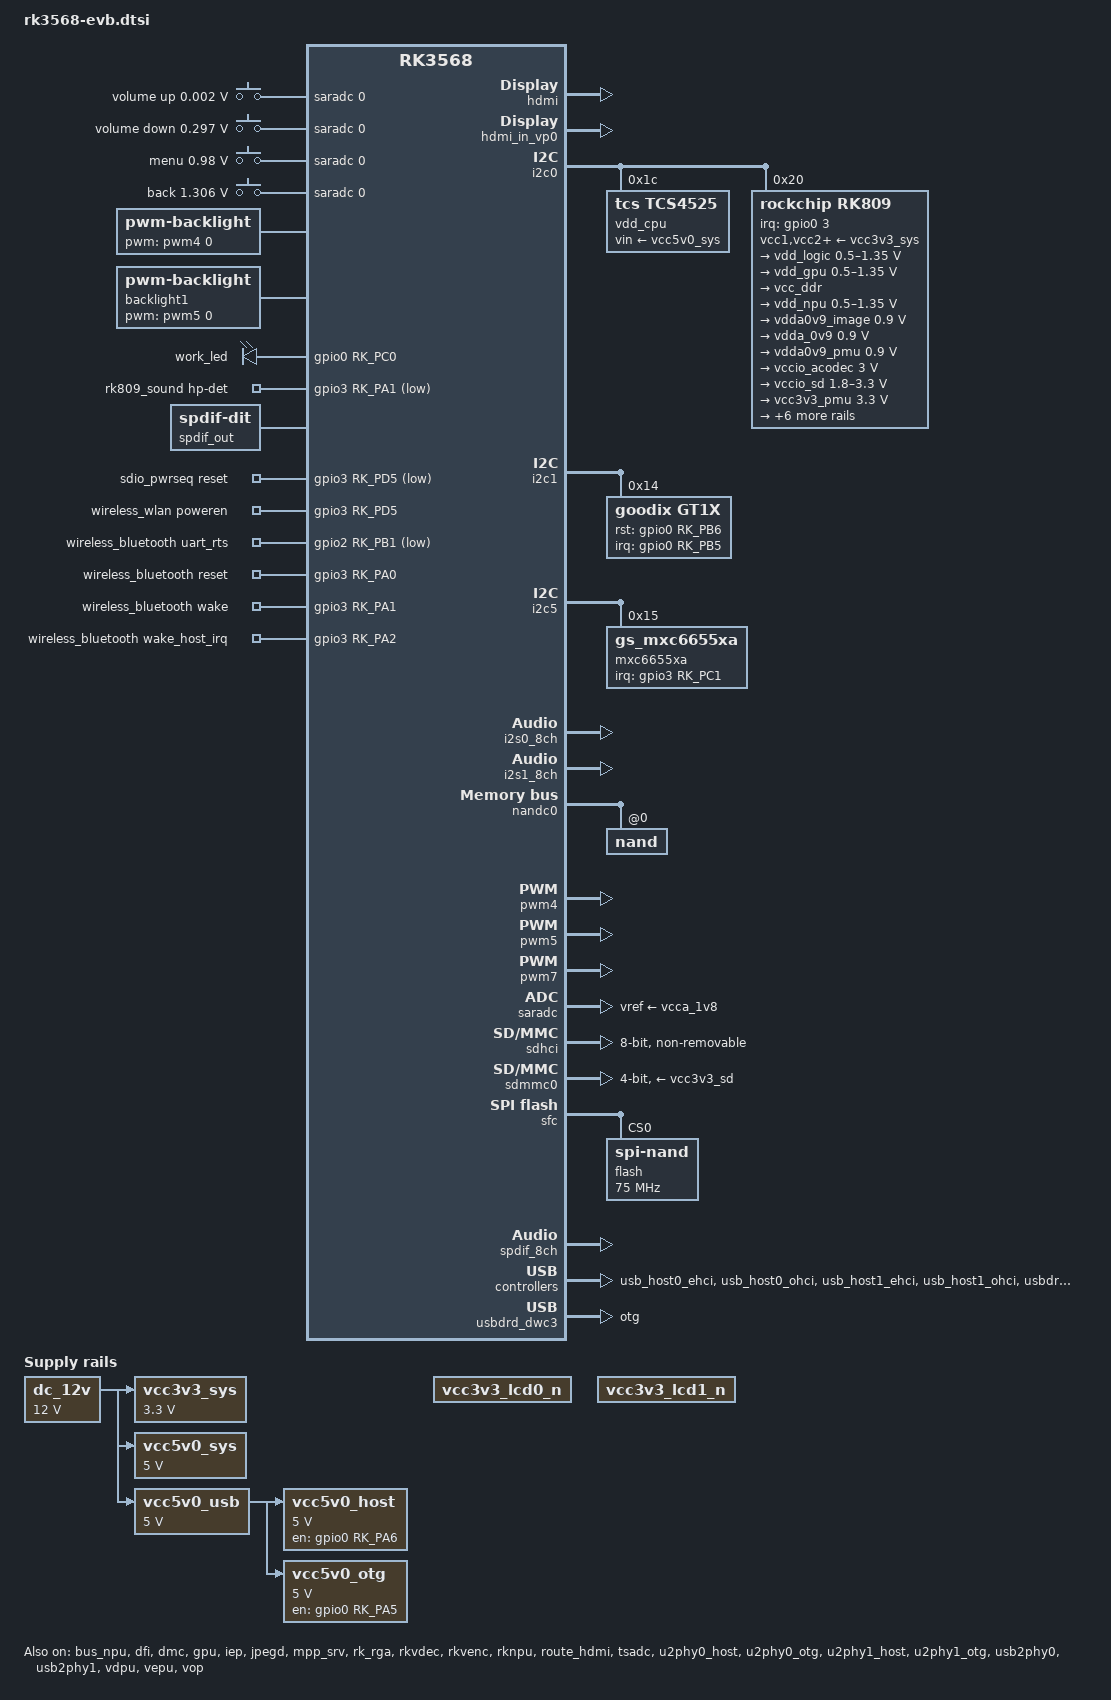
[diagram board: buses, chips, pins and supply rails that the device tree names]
// SPDX-License-Identifier: (GPL-2.0+ OR MIT)
/*
 * Copyright (c) 2020 Rockchip Electronics Co., Ltd.
 *
 */

#include <dt-bindings/gpio/gpio.h>
#include <dt-bindings/pwm/pwm.h>
#include <dt-bindings/pinctrl/rockchip.h>
#include <dt-bindings/input/rk-input.h>
#include <dt-bindings/display/drm_mipi_dsi.h>
#include <dt-bindings/sensor-dev.h>

/ {

	adc_keys: adc-keys {
		compatible = "adc-keys";
		io-channels = <&saradc 0>;
		io-channel-names = "buttons";
		keyup-threshold-microvolt = <1800000>;
		poll-interval = <100>;

		vol-up-key {
			label = "volume up";
			linux,code = <KEY_VOLUMEUP>;
			press-threshold-microvolt = <1750>;
		};

		vol-down-key {
			label = "volume down";
			linux,code = <KEY_VOLUMEDOWN>;
			press-threshold-microvolt = <297500>;
		};

		menu-key {
			label = "menu";
			linux,code = <KEY_MENU>;
			press-threshold-microvolt = <980000>;
		};

		back-key {
			label = "back";
			linux,code = <KEY_BACK>;
			press-threshold-microvolt = <1305500>;
		};
	};

	audiopwmout_diff: audiopwmout-diff {
		status = "disabled";
		compatible = "simple-audio-card";
		simple-audio-card,format = "i2s";
		simple-audio-card,name = "rockchip,audiopwmout-diff";
		simple-audio-card,mclk-fs = <256>;
		simple-audio-card,bitclock-master = <&master>;
		simple-audio-card,frame-master = <&master>;
		simple-audio-card,cpu {
			sound-dai = <&i2s3_2ch>;
		};
		master: simple-audio-card,codec {
			sound-dai = <&dig_acodec>;
		};
	};

	backlight: backlight {
		compatible = "pwm-backlight";
		pwms = <&pwm4 0 25000 0>;
		brightness-levels = <
			  0  20  20  21  21  22  22  23
			 23  24  24  25  25  26  26  27
			 27  28  28  29  29  30  30  31
			 31  32  32  33  33  34  34  35
			 35  36  36  37  37  38  38  39
			 40  41  42  43  44  45  46  47
			 48  49  50  51  52  53  54  55
			 56  57  58  59  60  61  62  63
			 64  65  66  67  68  69  70  71
			 72  73  74  75  76  77  78  79
			 80  81  82  83  84  85  86  87
			 88  89  90  91  92  93  94  95
			 96  97  98  99 100 101 102 103
			104 105 106 107 108 109 110 111
			112 113 114 115 116 117 118 119
			120 121 122 123 124 125 126 127
			128 129 130 131 132 133 134 135
			136 137 138 139 140 141 142 143
			144 145 146 147 148 149 150 151
			152 153 154 155 156 157 158 159
			160 161 162 163 164 165 166 167
			168 169 170 171 172 173 174 175
			176 177 178 179 180 181 182 183
			184 185 186 187 188 189 190 191
			192 193 194 195 196 197 198 199
			200 201 202 203 204 205 206 207
			208 209 210 211 212 213 214 215
			216 217 218 219 220 221 222 223
			224 225 226 227 228 229 230 231
			232 233 234 235 236 237 238 239
			240 241 242 243 244 245 246 247
			248 249 250 251 252 253 254 255
		>;
		default-brightness-level = <200>;
	};

	backlight1: backlight1 {
		compatible = "pwm-backlight";
		pwms = <&pwm5 0 25000 0>;
		brightness-levels = <
			  0  20  20  21  21  22  22  23
			 23  24  24  25  25  26  26  27
			 27  28  28  29  29  30  30  31
			 31  32  32  33  33  34  34  35
			 35  36  36  37  37  38  38  39
			 40  41  42  43  44  45  46  47
			 48  49  50  51  52  53  54  55
			 56  57  58  59  60  61  62  63
			 64  65  66  67  68  69  70  71
			 72  73  74  75  76  77  78  79
			 80  81  82  83  84  85  86  87
			 88  89  90  91  92  93  94  95
			 96  97  98  99 100 101 102 103
			104 105 106 107 108 109 110 111
			112 113 114 115 116 117 118 119
			120 121 122 123 124 125 126 127
			128 129 130 131 132 133 134 135
			136 137 138 139 140 141 142 143
			144 145 146 147 148 149 150 151
			152 153 154 155 156 157 158 159
			160 161 162 163 164 165 166 167
			168 169 170 171 172 173 174 175
			176 177 178 179 180 181 182 183
			184 185 186 187 188 189 190 191
			192 193 194 195 196 197 198 199
			200 201 202 203 204 205 206 207
			208 209 210 211 212 213 214 215
			216 217 218 219 220 221 222 223
			224 225 226 227 228 229 230 231
			232 233 234 235 236 237 238 239
			240 241 242 243 244 245 246 247
			248 249 250 251 252 253 254 255
		>;
		default-brightness-level = <200>;
	};

	bt_sco: bt-sco {
		status = "disabled";
		compatible = "delta,dfbmcs320";
		#sound-dai-cells = <1>;
	};

	bt_sound: bt-sound {
		status = "disabled";
		compatible = "simple-audio-card";
		simple-audio-card,format = "dsp_a";
		simple-audio-card,bitclock-inversion = <0>;
		simple-audio-card,mclk-fs = <256>;
		simple-audio-card,name = "rockchip,bt";
		simple-audio-card,cpu {
			sound-dai = <&i2s3_2ch>;
		};
		simple-audio-card,codec {
			sound-dai = <&bt_sco 1>;
		};
	};

	dc_12v: dc-12v {
		compatible = "regulator-fixed";
		regulator-name = "dc_12v";
		regulator-always-on;
		regulator-boot-on;
		regulator-min-microvolt = <12000000>;
		regulator-max-microvolt = <12000000>;
	};

	hdmi_sound: hdmi-sound {
		compatible = "simple-audio-card";
		simple-audio-card,format = "i2s";
		simple-audio-card,mclk-fs = <128>;
		simple-audio-card,name = "rockchip,hdmi";
		status = "disabled";

		simple-audio-card,cpu {
				sound-dai = <&i2s0_8ch>;
		};
		simple-audio-card,codec {
				sound-dai = <&hdmi>;
		};
	};

	leds: leds {
		compatible = "gpio-leds";
		work_led: work {
			gpios = <&gpio0 RK_PC0 GPIO_ACTIVE_HIGH>;
			linux,default-trigger = "heartbeat";
		};
	};

	pdmics: dummy-codec {
		status = "disabled";
		compatible = "rockchip,dummy-codec";
		#sound-dai-cells = <0>;
	};

	pdm_mic_array: pdm-mic-array {
		status = "disabled";
		compatible = "simple-audio-card";
		simple-audio-card,name = "rockchip,pdm-mic-array";
		simple-audio-card,cpu {
			sound-dai = <&pdm>;
		};
		simple-audio-card,codec {
			sound-dai = <&pdmics>;
		};
	};

	rk809_sound: rk809-sound {
		status = "okay";
		compatible = "rockchip,multicodecs-card";
		rockchip,card-name = "rockchip-rk809";
		hp-det-gpio = <&gpio3 RK_PA1 GPIO_ACTIVE_LOW>;
		rockchip,format = "i2s";
		rockchip,mclk-fs = <256>;
		rockchip,cpu = <&i2s1_8ch>;
		rockchip,codec = <&rk809_codec>;
		pinctrl-names = "default";
		pinctrl-0 = <&hp_det>;
	};

	spdif-sound {
		status = "okay";
		compatible = "simple-audio-card";
		simple-audio-card,name = "ROCKCHIP,SPDIF";
		simple-audio-card,mclk-fs = <128>;
		simple-audio-card,cpu {
				sound-dai = <&spdif_8ch>;
		};
		simple-audio-card,codec {
				sound-dai = <&spdif_out>;
		};
	};

	spdif_out: spdif-out {
			status = "okay";
			compatible = "linux,spdif-dit";
			#sound-dai-cells = <0>;
	};

	vad_sound: vad-sound {
		status = "disabled";
		compatible = "rockchip,multicodecs-card";
		rockchip,card-name = "rockchip,rk3568-vad";
		rockchip,cpu = <&i2s1_8ch>;
		rockchip,codec = <&rk809_codec>, <&vad>;
	};

	vcc3v3_sys: vcc3v3-sys {
		compatible = "regulator-fixed";
		regulator-name = "vcc3v3_sys";
		regulator-always-on;
		regulator-boot-on;
		regulator-min-microvolt = <3300000>;
		regulator-max-microvolt = <3300000>;
		vin-supply = <&dc_12v>;
	};

	vcc5v0_sys: vcc5v0-sys {
		compatible = "regulator-fixed";
		regulator-name = "vcc5v0_sys";
		regulator-always-on;
		regulator-boot-on;
		regulator-min-microvolt = <5000000>;
		regulator-max-microvolt = <5000000>;
		vin-supply = <&dc_12v>;
	};

	vcc5v0_usb: vcc5v0-usb {
		compatible = "regulator-fixed";
		regulator-name = "vcc5v0_usb";
		regulator-always-on;
		regulator-boot-on;
		regulator-min-microvolt = <5000000>;
		regulator-max-microvolt = <5000000>;
		vin-supply = <&dc_12v>;
	};

	vcc5v0_host: vcc5v0-host-regulator {
		compatible = "regulator-fixed";
		regulator-name = "vcc5v0_host";
		regulator-boot-on;
		regulator-always-on;
		regulator-min-microvolt = <5000000>;
		regulator-max-microvolt = <5000000>;
		enable-active-high;
		gpio = <&gpio0 RK_PA6 GPIO_ACTIVE_HIGH>;
		vin-supply = <&vcc5v0_usb>;
		pinctrl-names = "default";
		pinctrl-0 = <&vcc5v0_host_en>;
	};

	vcc5v0_otg: vcc5v0-otg-regulator {
		compatible = "regulator-fixed";
		regulator-name = "vcc5v0_otg";
		regulator-min-microvolt = <5000000>;
		regulator-max-microvolt = <5000000>;
		enable-active-high;
		gpio = <&gpio0 RK_PA5 GPIO_ACTIVE_HIGH>;
		vin-supply = <&vcc5v0_usb>;
		pinctrl-names = "default";
		pinctrl-0 = <&vcc5v0_otg_en>;
	};

	vcc3v3_lcd0_n: vcc3v3-lcd0-n {
		compatible = "regulator-fixed";
		regulator-name = "vcc3v3_lcd0_n";
		regulator-boot-on;
		regulator-state-mem {
			regulator-off-in-suspend;
		};
	};

	vcc3v3_lcd1_n: vcc3v3-lcd1-n {
		compatible = "regulator-fixed";
		regulator-name = "vcc3v3_lcd1_n";
		regulator-boot-on;
		regulator-state-mem {
			regulator-off-in-suspend;
		};
	};

	sdio_pwrseq: sdio-pwrseq {
		compatible = "mmc-pwrseq-simple";
		clocks = <&rk809 1>;
		clock-names = "ext_clock";
		pinctrl-names = "default";
		pinctrl-0 = <&wifi_enable_h>;

		/*
		 * On the module itself this is one of these (depending
		 * on the actual card populated):
		 * - SDIO_RESET_L_WL_REG_ON
		 * - PDN (power down when low)
		 */
		post-power-on-delay-ms = <200>;
		reset-gpios = <&gpio3 RK_PD5 GPIO_ACTIVE_LOW>;
	};

	wireless_wlan: wireless-wlan {
		compatible = "wlan-platdata";
		rockchip,grf = <&grf>;
		wifi_chip_type = "ap6398s";
		WIFI,poweren_gpio = <&gpio3 RK_PD5 GPIO_ACTIVE_HIGH>;
		status = "okay";
	};

	wireless_bluetooth: wireless-bluetooth {
		compatible = "bluetooth-platdata";
		clocks = <&rk809 1>;
		clock-names = "ext_clock";
		//wifi-bt-power-toggle;
		uart_rts_gpios = <&gpio2 RK_PB1 GPIO_ACTIVE_LOW>;
		pinctrl-names = "default", "rts_gpio";
		pinctrl-0 = <&uart8m0_rtsn>;
		pinctrl-1 = <&uart8_gpios>;
		BT,reset_gpio    = <&gpio3 RK_PA0 GPIO_ACTIVE_HIGH>;
		BT,wake_gpio     = <&gpio3 RK_PA1 GPIO_ACTIVE_HIGH>;
		BT,wake_host_irq = <&gpio3 RK_PA2 GPIO_ACTIVE_HIGH>;
		status = "okay";
	};

	test-power {
		status = "okay";
	};
};

&bus_npu {
	bus-supply = <&vdd_logic>;
	pvtm-supply = <&vdd_cpu>;
	status = "okay";
};

&can0 {
	assigned-clocks = <&cru CLK_CAN0>;
	assigned-clock-rates = <150000000>;
	pinctrl-names = "default";
	pinctrl-0 = <&can0m1_pins>;
	status = "disabled";
};

&can1 {
	assigned-clocks = <&cru CLK_CAN1>;
	assigned-clock-rates = <150000000>;
	pinctrl-names = "default";
	pinctrl-0 = <&can1m1_pins>;
	status = "disabled";
};

&can2 {
	assigned-clocks = <&cru CLK_CAN2>;
	assigned-clock-rates = <150000000>;
	pinctrl-names = "default";
	pinctrl-0 = <&can2m1_pins>;
	status = "disabled";
};

&cpu0 {
	cpu-supply = <&vdd_cpu>;
};

&dfi {
	status = "okay";
};

&dmc {
	center-supply = <&vdd_logic>;
	status = "okay";
};

&dsi0 {
	status = "disabled";
	//rockchip,lane-rate = <1000>;
	dsi0_panel: panel@0 {
		status = "okay";
		compatible = "simple-panel-dsi";
		reg = <0>;
		backlight = <&backlight>;
		reset-delay-ms = <60>;
		enable-delay-ms = <60>;
		prepare-delay-ms = <60>;
		unprepare-delay-ms = <60>;
		disable-delay-ms = <60>;
		dsi,flags = <(MIPI_DSI_MODE_VIDEO | MIPI_DSI_MODE_VIDEO_BURST |
			MIPI_DSI_MODE_LPM | MIPI_DSI_MODE_EOT_PACKET)>;
		dsi,format = <MIPI_DSI_FMT_RGB888>;
		dsi,lanes  = <4>;
		panel-init-sequence = [
			23 00 02 FE 21
			23 00 02 04 00
			23 00 02 00 64
			23 00 02 2A 00
			23 00 02 26 64
			23 00 02 54 00
			23 00 02 50 64
			23 00 02 7B 00
			23 00 02 77 64
			23 00 02 A2 00
			23 00 02 9D 64
			23 00 02 C9 00
			23 00 02 C5 64
			23 00 02 01 71
			23 00 02 27 71
			23 00 02 51 71
			23 00 02 78 71
			23 00 02 9E 71
			23 00 02 C6 71
			23 00 02 02 89
			23 00 02 28 89
			23 00 02 52 89
			23 00 02 79 89
			23 00 02 9F 89
			23 00 02 C7 89
			23 00 02 03 9E
			23 00 02 29 9E
			23 00 02 53 9E
			23 00 02 7A 9E
			23 00 02 A0 9E
			23 00 02 C8 9E
			23 00 02 09 00
			23 00 02 05 B0
			23 00 02 31 00
			23 00 02 2B B0
			23 00 02 5A 00
			23 00 02 55 B0
			23 00 02 80 00
			23 00 02 7C B0
			23 00 02 A7 00
			23 00 02 A3 B0
			23 00 02 CE 00
			23 00 02 CA B0
			23 00 02 06 C0
			23 00 02 2D C0
			23 00 02 56 C0
			23 00 02 7D C0
			23 00 02 A4 C0
			23 00 02 CB C0
			23 00 02 07 CF
			23 00 02 2F CF
			23 00 02 58 CF
			23 00 02 7E CF
			23 00 02 A5 CF
			23 00 02 CC CF
			23 00 02 08 DD
			23 00 02 30 DD
			23 00 02 59 DD
			23 00 02 7F DD
			23 00 02 A6 DD
			23 00 02 CD DD
			23 00 02 0E 15
			23 00 02 0A E9
			23 00 02 36 15
			23 00 02 32 E9
			23 00 02 5F 15
			23 00 02 5B E9
			23 00 02 85 15
			23 00 02 81 E9
			23 00 02 AD 15
			23 00 02 A9 E9
			23 00 02 D3 15
			23 00 02 CF E9
			23 00 02 0B 14
			23 00 02 33 14
			23 00 02 5C 14
			23 00 02 82 14
			23 00 02 AA 14
			23 00 02 D0 14
			23 00 02 0C 36
			23 00 02 34 36
			23 00 02 5D 36
			23 00 02 83 36
			23 00 02 AB 36
			23 00 02 D1 36
			23 00 02 0D 6B
			23 00 02 35 6B
			23 00 02 5E 6B
			23 00 02 84 6B
			23 00 02 AC 6B
			23 00 02 D2 6B
			23 00 02 13 5A
			23 00 02 0F 94
			23 00 02 3B 5A
			23 00 02 37 94
			23 00 02 64 5A
			23 00 02 60 94
			23 00 02 8A 5A
			23 00 02 86 94
			23 00 02 B2 5A
			23 00 02 AE 94
			23 00 02 D8 5A
			23 00 02 D4 94
			23 00 02 10 D1
			23 00 02 38 D1
			23 00 02 61 D1
			23 00 02 87 D1
			23 00 02 AF D1
			23 00 02 D5 D1
			23 00 02 11 04
			23 00 02 39 04
			23 00 02 62 04
			23 00 02 88 04
			23 00 02 B0 04
			23 00 02 D6 04
			23 00 02 12 05
			23 00 02 3A 05
			23 00 02 63 05
			23 00 02 89 05
			23 00 02 B1 05
			23 00 02 D7 05
			23 00 02 18 AA
			23 00 02 14 36
			23 00 02 42 AA
			23 00 02 3D 36
			23 00 02 69 AA
			23 00 02 65 36
			23 00 02 8F AA
			23 00 02 8B 36
			23 00 02 B7 AA
			23 00 02 B3 36
			23 00 02 DD AA
			23 00 02 D9 36
			23 00 02 15 74
			23 00 02 3F 74
			23 00 02 66 74
			23 00 02 8C 74
			23 00 02 B4 74
			23 00 02 DA 74
			23 00 02 16 9F
			23 00 02 40 9F
			23 00 02 67 9F
			23 00 02 8D 9F
			23 00 02 B5 9F
			23 00 02 DB 9F
			23 00 02 17 DC
			23 00 02 41 DC
			23 00 02 68 DC
			23 00 02 8E DC
			23 00 02 B6 DC
			23 00 02 DC DC
			23 00 02 1D FF
			23 00 02 19 03
			23 00 02 47 FF
			23 00 02 43 03
			23 00 02 6E FF
			23 00 02 6A 03
			23 00 02 94 FF
			23 00 02 90 03
			23 00 02 BC FF
			23 00 02 B8 03
			23 00 02 E2 FF
			23 00 02 DE 03
			23 00 02 1A 35
			23 00 02 44 35
			23 00 02 6B 35
			23 00 02 91 35
			23 00 02 B9 35
			23 00 02 DF 35
			23 00 02 1B 45
			23 00 02 45 45
			23 00 02 6C 45
			23 00 02 92 45
			23 00 02 BA 45
			23 00 02 E0 45
			23 00 02 1C 55
			23 00 02 46 55
			23 00 02 6D 55
			23 00 02 93 55
			23 00 02 BB 55
			23 00 02 E1 55
			23 00 02 22 FF
			23 00 02 1E 68
			23 00 02 4C FF
			23 00 02 48 68
			23 00 02 73 FF
			23 00 02 6F 68
			23 00 02 99 FF
			23 00 02 95 68
			23 00 02 C1 FF
			23 00 02 BD 68
			23 00 02 E7 FF
			23 00 02 E3 68
			23 00 02 1F 7E
			23 00 02 49 7E
			23 00 02 70 7E
			23 00 02 96 7E
			23 00 02 BE 7E
			23 00 02 E4 7E
			23 00 02 20 97
			23 00 02 4A 97
			23 00 02 71 97
			23 00 02 97 97
			23 00 02 BF 97
			23 00 02 E5 97
			23 00 02 21 B5
			23 00 02 4B B5
			23 00 02 72 B5
			23 00 02 98 B5
			23 00 02 C0 B5
			23 00 02 E6 B5
			23 00 02 25 F0
			23 00 02 23 E8
			23 00 02 4F F0
			23 00 02 4D E8
			23 00 02 76 F0
			23 00 02 74 E8
			23 00 02 9C F0
			23 00 02 9A E8
			23 00 02 C4 F0
			23 00 02 C2 E8
			23 00 02 EA F0
			23 00 02 E8 E8
			23 00 02 24 FF
			23 00 02 4E FF
			23 00 02 75 FF
			23 00 02 9B FF
			23 00 02 C3 FF
			23 00 02 E9 FF
			23 00 02 FE 3D
			23 00 02 00 04
			23 00 02 FE 23
			23 00 02 08 82
			23 00 02 0A 00
			23 00 02 0B 00
			23 00 02 0C 01
			23 00 02 16 00
			23 00 02 18 02
			23 00 02 1B 04
			23 00 02 19 04
			23 00 02 1C 81
			23 00 02 1F 00
			23 00 02 20 03
			23 00 02 23 04
			23 00 02 21 01
			23 00 02 54 63
			23 00 02 55 54
			23 00 02 6E 45
			23 00 02 6D 36
			23 00 02 FE 3D
			23 00 02 55 78
			23 00 02 FE 20
			23 00 02 26 30
			23 00 02 FE 3D
			23 00 02 20 71
			23 00 02 50 8F
			23 00 02 51 8F
			23 00 02 FE 00
			23 00 02 35 00
			05 78 01 11
			05 1E 01 29
		];

		panel-exit-sequence = [
			05 00 01 28
			05 00 01 10
		];

		disp_timings0: display-timings {
			native-mode = <&dsi0_timing0>;
			dsi0_timing0: timing0 {
				clock-frequency = <132000000>;
				hactive = <1080>;
				vactive = <1920>;
				hfront-porch = <15>;
				hsync-len = <2>;
				hback-porch = <30>;
				vfront-porch = <15>;
				vsync-len = <2>;
				vback-porch = <15>;
				hsync-active = <0>;
				vsync-active = <0>;
				de-active = <0>;
				pixelclk-active = <1>;
			};
		};

		ports {
			#address-cells = <1>;
			#size-cells = <0>;

			port@0 {
				reg = <0>;
				panel_in_dsi: endpoint {
					remote-endpoint = <&dsi_out_panel>;
				};
			};
		};
	};

	ports {
		#address-cells = <1>;
		#size-cells = <0>;

		port@1 {
			reg = <1>;
			dsi_out_panel: endpoint {
				remote-endpoint = <&panel_in_dsi>;
			};
		};
	};

};

&dsi1 {
	status = "disabled";
	//rockchip,lane-rate = <1000>;
	dsi1_panel: panel@0 {
		status = "okay";
		compatible = "simple-panel-dsi";
		reg = <0>;
		backlight = <&backlight1>;
		reset-delay-ms = <60>;
		enable-delay-ms = <60>;
		prepare-delay-ms = <60>;
		unprepare-delay-ms = <60>;
		disable-delay-ms = <60>;
		dsi,flags = <(MIPI_DSI_MODE_VIDEO | MIPI_DSI_MODE_VIDEO_BURST |
			MIPI_DSI_MODE_LPM | MIPI_DSI_MODE_EOT_PACKET)>;
		dsi,format = <MIPI_DSI_FMT_RGB888>;
		dsi,lanes  = <4>;
		panel-init-sequence = [
			23 00 02 FE 21
			23 00 02 04 00
			23 00 02 00 64
			23 00 02 2A 00
			23 00 02 26 64
			23 00 02 54 00
			23 00 02 50 64
			23 00 02 7B 00
			23 00 02 77 64
			23 00 02 A2 00
			23 00 02 9D 64
			23 00 02 C9 00
			23 00 02 C5 64
			23 00 02 01 71
			23 00 02 27 71
			23 00 02 51 71
			23 00 02 78 71
			23 00 02 9E 71
			23 00 02 C6 71
			23 00 02 02 89
			23 00 02 28 89
			23 00 02 52 89
			23 00 02 79 89
			23 00 02 9F 89
			23 00 02 C7 89
			23 00 02 03 9E
			23 00 02 29 9E
			23 00 02 53 9E
			23 00 02 7A 9E
			23 00 02 A0 9E
			23 00 02 C8 9E
			23 00 02 09 00
			23 00 02 05 B0
			23 00 02 31 00
			23 00 02 2B B0
			23 00 02 5A 00
			23 00 02 55 B0
			23 00 02 80 00
			23 00 02 7C B0
			23 00 02 A7 00
			23 00 02 A3 B0
			23 00 02 CE 00
			23 00 02 CA B0
			23 00 02 06 C0
			23 00 02 2D C0
			23 00 02 56 C0
			23 00 02 7D C0
			23 00 02 A4 C0
			23 00 02 CB C0
			23 00 02 07 CF
			23 00 02 2F CF
			23 00 02 58 CF
			23 00 02 7E CF
			23 00 02 A5 CF
			23 00 02 CC CF
			23 00 02 08 DD
			23 00 02 30 DD
			23 00 02 59 DD
			23 00 02 7F DD
			23 00 02 A6 DD
			23 00 02 CD DD
			23 00 02 0E 15
			23 00 02 0A E9
			23 00 02 36 15
			23 00 02 32 E9
			23 00 02 5F 15
			23 00 02 5B E9
			23 00 02 85 15
			23 00 02 81 E9
			23 00 02 AD 15
			23 00 02 A9 E9
			23 00 02 D3 15
			23 00 02 CF E9
			23 00 02 0B 14
			23 00 02 33 14
			23 00 02 5C 14
			23 00 02 82 14
			23 00 02 AA 14
			23 00 02 D0 14
			23 00 02 0C 36
			23 00 02 34 36
			23 00 02 5D 36
			23 00 02 83 36
			23 00 02 AB 36
			23 00 02 D1 36
			23 00 02 0D 6B
			23 00 02 35 6B
			23 00 02 5E 6B
			23 00 02 84 6B
			23 00 02 AC 6B
			23 00 02 D2 6B
			23 00 02 13 5A
			23 00 02 0F 94
			23 00 02 3B 5A
			23 00 02 37 94
			23 00 02 64 5A
			23 00 02 60 94
			23 00 02 8A 5A
			23 00 02 86 94
			23 00 02 B2 5A
			23 00 02 AE 94
			23 00 02 D8 5A
			23 00 02 D4 94
			23 00 02 10 D1
			23 00 02 38 D1
			23 00 02 61 D1
			23 00 02 87 D1
			23 00 02 AF D1
			23 00 02 D5 D1
			23 00 02 11 04
			23 00 02 39 04
			23 00 02 62 04
			23 00 02 88 04
			23 00 02 B0 04
			23 00 02 D6 04
			23 00 02 12 05
			23 00 02 3A 05
			23 00 02 63 05
			23 00 02 89 05
			23 00 02 B1 05
			23 00 02 D7 05
			23 00 02 18 AA
			23 00 02 14 36
			23 00 02 42 AA
			23 00 02 3D 36
			23 00 02 69 AA
			23 00 02 65 36
			23 00 02 8F AA
			23 00 02 8B 36
			23 00 02 B7 AA
			23 00 02 B3 36
			23 00 02 DD AA
			23 00 02 D9 36
			23 00 02 15 74
			23 00 02 3F 74
			23 00 02 66 74
			23 00 02 8C 74
			23 00 02 B4 74
			23 00 02 DA 74
			23 00 02 16 9F
			23 00 02 40 9F
			23 00 02 67 9F
			23 00 02 8D 9F
			23 00 02 B5 9F
			23 00 02 DB 9F
			23 00 02 17 DC
			23 00 02 41 DC
			23 00 02 68 DC
			23 00 02 8E DC
			23 00 02 B6 DC
			23 00 02 DC DC
			23 00 02 1D FF
			23 00 02 19 03
			23 00 02 47 FF
			23 00 02 43 03
			23 00 02 6E FF
			23 00 02 6A 03
			23 00 02 94 FF
			23 00 02 90 03
			23 00 02 BC FF
			23 00 02 B8 03
			23 00 02 E2 FF
			23 00 02 DE 03
			23 00 02 1A 35
			23 00 02 44 35
			23 00 02 6B 35
			23 00 02 91 35
			23 00 02 B9 35
			23 00 02 DF 35
			23 00 02 1B 45
			23 00 02 45 45
			23 00 02 6C 45
			23 00 02 92 45
			23 00 02 BA 45
			23 00 02 E0 45
			23 00 02 1C 55
			23 00 02 46 55
			23 00 02 6D 55
			23 00 02 93 55
			23 00 02 BB 55
			23 00 02 E1 55
			23 00 02 22 FF
			23 00 02 1E 68
			23 00 02 4C FF
			23 00 02 48 68
			23 00 02 73 FF
			23 00 02 6F 68
			23 00 02 99 FF
			23 00 02 95 68
			23 00 02 C1 FF
			23 00 02 BD 68
			23 00 02 E7 FF
			23 00 02 E3 68
			23 00 02 1F 7E
			23 00 02 49 7E
			23 00 02 70 7E
			23 00 02 96 7E
			23 00 02 BE 7E
			23 00 02 E4 7E
			23 00 02 20 97
			23 00 02 4A 97
			23 00 02 71 97
			23 00 02 97 97
			23 00 02 BF 97
			23 00 02 E5 97
			23 00 02 21 B5
			23 00 02 4B B5
			23 00 02 72 B5
			23 00 02 98 B5
			23 00 02 C0 B5
			23 00 02 E6 B5
			23 00 02 25 F0
			23 00 02 23 E8
			23 00 02 4F F0
			23 00 02 4D E8
			23 00 02 76 F0
			23 00 02 74 E8
			23 00 02 9C F0
			23 00 02 9A E8
			23 00 02 C4 F0
			23 00 02 C2 E8
			23 00 02 EA F0
			23 00 02 E8 E8
			23 00 02 24 FF
			23 00 02 4E FF
			23 00 02 75 FF
			23 00 02 9B FF
			23 00 02 C3 FF
			23 00 02 E9 FF
			23 00 02 FE 3D
			23 00 02 00 04
			23 00 02 FE 23
			23 00 02 08 82
			23 00 02 0A 00
			23 00 02 0B 00
			23 00 02 0C 01
			23 00 02 16 00
			23 00 02 18 02
			23 00 02 1B 04
			23 00 02 19 04
			23 00 02 1C 81
			23 00 02 1F 00
			23 00 02 20 03
			23 00 02 23 04
			23 00 02 21 01
			23 00 02 54 63
			23 00 02 55 54
			23 00 02 6E 45
			23 00 02 6D 36
			23 00 02 FE 3D
			23 00 02 55 78
			23 00 02 FE 20
			23 00 02 26 30
			23 00 02 FE 3D
			23 00 02 20 71
			23 00 02 50 8F
			23 00 02 51 8F
			23 00 02 FE 00
			23 00 02 35 00
			05 78 01 11
			05 1E 01 29
		];

		panel-exit-sequence = [
			05 00 01 28
			05 00 01 10
		];

		disp_timings1: display-timings {
			native-mode = <&dsi1_timing0>;
			dsi1_timing0: timing0 {
				clock-frequency = <132000000>;
				hactive = <1080>;
				vactive = <1920>;
				hfront-porch = <15>;
				hsync-len = <2>;
				hback-porch = <30>;
				vfront-porch = <15>;
				vsync-len = <2>;
				vback-porch = <15>;
				hsync-active = <0>;
				vsync-active = <0>;
				de-active = <0>;
				pixelclk-active = <1>;
			};
		};

		ports {
			#address-cells = <1>;
			#size-cells = <0>;

			port@0 {
				reg = <0>;
				panel_in_dsi1: endpoint {
					remote-endpoint = <&dsi1_out_panel>;
				};
			};
		};
	};

	ports {
		#address-cells = <1>;
		#size-cells = <0>;

		port@1 {
			reg = <1>;
			dsi1_out_panel: endpoint {
				remote-endpoint = <&panel_in_dsi1>;
			};
		};
	};

};

&gpu {
	mali-supply = <&vdd_gpu>;
	status = "okay";
};

&hdmi {
	status = "okay";
	rockchip,phy-table =
		<92812500  0x8009 0x0000 0x0270>,
		<165000000 0x800b 0x0000 0x026d>,
		<185625000 0x800b 0x0000 0x01ed>,
		<297000000 0x800b 0x0000 0x01ad>,
		<594000000 0x8029 0x0000 0x0088>,
		<000000000 0x0000 0x0000 0x0000>;
};

&hdmi_in_vp0 {
	status = "okay";
};

&hdmi_in_vp1 {
	status = "disabled";
};

&hdmi_sound {
	status = "okay";
};

&i2c0 {
	status = "okay";

	vdd_cpu: tcs4525@1c {
		compatible = "tcs,tcs4525";
		reg = <0x1c>;
		vin-supply = <&vcc5v0_sys>;
		regulator-compatible = "fan53555-reg";
		regulator-name = "vdd_cpu";
		regulator-min-microvolt = <712500>;
		regulator-max-microvolt = <1390000>;
		regulator-init-microvolt = <900000>;
		regulator-ramp-delay = <2300>;
		fcs,suspend-voltage-selector = <1>;
		regulator-boot-on;
		regulator-always-on;
		regulator-state-mem {
			regulator-off-in-suspend;
		};
	};

	rk809: pmic@20 {
		compatible = "rockchip,rk809";
		reg = <0x20>;
		interrupt-parent = <&gpio0>;
		interrupts = <3 IRQ_TYPE_LEVEL_LOW>;

		pinctrl-names = "default", "pmic-sleep",
				"pmic-power-off", "pmic-reset";
		pinctrl-0 = <&pmic_int>;
		pinctrl-1 = <&soc_slppin_slp>, <&rk817_slppin_slp>;
		pinctrl-2 = <&soc_slppin_gpio>, <&rk817_slppin_pwrdn>;
		pinctrl-3 = <&soc_slppin_gpio>, <&rk817_slppin_rst>;

		rockchip,system-power-controller;
		wakeup-source;
		#clock-cells = <1>;
		clock-output-names = "rk808-clkout1", "rk808-clkout2";
		//fb-inner-reg-idxs = <2>;
		/* 1: rst regs (default in codes), 0: rst the pmic */
		pmic-reset-func = <0>;
		/* not save the PMIC_POWER_EN register in uboot */
		not-save-power-en = <1>;

		vcc1-supply = <&vcc3v3_sys>;
		vcc2-supply = <&vcc3v3_sys>;
		vcc3-supply = <&vcc3v3_sys>;
		vcc4-supply = <&vcc3v3_sys>;
		vcc5-supply = <&vcc3v3_sys>;
		vcc6-supply = <&vcc3v3_sys>;
		vcc7-supply = <&vcc3v3_sys>;
		vcc8-supply = <&vcc3v3_sys>;
		vcc9-supply = <&vcc3v3_sys>;

		pwrkey {
			status = "okay";
		};

		pinctrl_rk8xx: pinctrl_rk8xx {
			gpio-controller;
			#gpio-cells = <2>;

			rk817_slppin_null: rk817_slppin_null {
				pins = "gpio_slp";
				function = "pin_fun0";
			};

			rk817_slppin_slp: rk817_slppin_slp {
				pins = "gpio_slp";
				function = "pin_fun1";
			};

			rk817_slppin_pwrdn: rk817_slppin_pwrdn {
				pins = "gpio_slp";
				function = "pin_fun2";
			};

			rk817_slppin_rst: rk817_slppin_rst {
				pins = "gpio_slp";
				function = "pin_fun3";
			};
		};

		regulators {
			vdd_logic: DCDC_REG1 {
				regulator-always-on;
				regulator-boot-on;
				regulator-min-microvolt = <500000>;
				regulator-max-microvolt = <1350000>;
				regulator-init-microvolt = <900000>;
				regulator-ramp-delay = <6001>;
				regulator-initial-mode = <0x2>;
				regulator-name = "vdd_logic";
				regulator-state-mem {
					regulator-off-in-suspend;
				};
			};

			vdd_gpu: DCDC_REG2 {
				regulator-always-on;
				regulator-boot-on;
				regulator-min-microvolt = <500000>;
				regulator-max-microvolt = <1350000>;
				regulator-init-microvolt = <900000>;
				regulator-ramp-delay = <6001>;
				regulator-initial-mode = <0x2>;
				regulator-name = "vdd_gpu";
				regulator-state-mem {
					regulator-off-in-suspend;
				};
			};

			vcc_ddr: DCDC_REG3 {
				regulator-always-on;
				regulator-boot-on;
				regulator-initial-mode = <0x2>;
				regulator-name = "vcc_ddr";
				regulator-state-mem {
					regulator-on-in-suspend;
				};
			};

			vdd_npu: DCDC_REG4 {
				regulator-always-on;
				regulator-boot-on;
				regulator-min-microvolt = <500000>;
				regulator-max-microvolt = <1350000>;
				regulator-init-microvolt = <900000>;
				regulator-ramp-delay = <6001>;
				regulator-initial-mode = <0x2>;
				regulator-name = "vdd_npu";
				regulator-state-mem {
					regulator-off-in-suspend;
				};
			};

			vdda0v9_image: LDO_REG1 {
				regulator-boot-on;
				regulator-always-on;
				regulator-min-microvolt = <900000>;
				regulator-max-microvolt = <900000>;
				regulator-name = "vdda0v9_image";
				regulator-state-mem {
					regulator-off-in-suspend;
				};
			};

			vdda_0v9: LDO_REG2 {
				regulator-always-on;
				regulator-boot-on;
				regulator-min-microvolt = <900000>;
				regulator-max-microvolt = <900000>;
				regulator-name = "vdda_0v9";
				regulator-state-mem {
					regulator-off-in-suspend;
				};
			};

			vdda0v9_pmu: LDO_REG3 {
				regulator-always-on;
				regulator-boot-on;
				regulator-min-microvolt = <900000>;
				regulator-max-microvolt = <900000>;
				regulator-name = "vdda0v9_pmu";
				regulator-state-mem {
					regulator-on-in-suspend;
					regulator-suspend-microvolt = <900000>;
				};
			};

			vccio_acodec: LDO_REG4 {
				regulator-always-on;
				regulator-boot-on;
				regulator-min-microvolt = <3000000>;
				regulator-max-microvolt = <3000000>;
				regulator-name = "vccio_acodec";
				regulator-state-mem {
					regulator-off-in-suspend;
				};
			};

			vccio_sd: LDO_REG5 {
				regulator-always-on;
				regulator-boot-on;
				regulator-min-microvolt = <1800000>;
				regulator-max-microvolt = <3300000>;
				regulator-name = "vccio_sd";
				regulator-state-mem {
					regulator-off-in-suspend;
				};
			};

			vcc3v3_pmu: LDO_REG6 {
				regulator-always-on;
				regulator-boot-on;
				regulator-min-microvolt = <3300000>;
				regulator-max-microvolt = <3300000>;
				regulator-name = "vcc3v3_pmu";
				regulator-state-mem {
					regulator-on-in-suspend;
					regulator-suspend-microvolt = <3300000>;
				};
			};

			vcca_1v8: LDO_REG7 {
				regulator-always-on;
				regulator-boot-on;
				regulator-min-microvolt = <1800000>;
				regulator-max-microvolt = <1800000>;
				regulator-name = "vcca_1v8";
				regulator-state-mem {
					regulator-off-in-suspend;
				};
			};

			vcca1v8_pmu: LDO_REG8 {
				regulator-always-on;
				regulator-boot-on;
				regulator-min-microvolt = <1800000>;
				regulator-max-microvolt = <1800000>;
				regulator-name = "vcca1v8_pmu";
				regulator-state-mem {
					regulator-on-in-suspend;
					regulator-suspend-microvolt = <1800000>;
				};
			};

			vcca1v8_image: LDO_REG9 {
				regulator-always-on;
				regulator-boot-on;
				regulator-min-microvolt = <1800000>;
				regulator-max-microvolt = <1800000>;
				regulator-name = "vcca1v8_image";
				regulator-state-mem {
					regulator-off-in-suspend;
				};
			};

			vcc_1v8: DCDC_REG5 {
				regulator-always-on;
				regulator-boot-on;
				regulator-min-microvolt = <1800000>;
				regulator-max-microvolt = <1800000>;
				regulator-name = "vcc_1v8";
				regulator-state-mem {
					regulator-off-in-suspend;
				};
			};

			vcc_3v3: SWITCH_REG1 {
				regulator-always-on;
				regulator-boot-on;
				regulator-name = "vcc_3v3";
				regulator-state-mem {
					regulator-off-in-suspend;
				};
			};

			vcc3v3_sd: SWITCH_REG2 {
				regulator-always-on;
				regulator-boot-on;
				regulator-name = "vcc3v3_sd";
				regulator-state-mem {
					regulator-off-in-suspend;
				};
			};
		};

		rk809_codec: codec {
			#sound-dai-cells = <1>;
			compatible = "rockchip,rk809-codec", "rockchip,rk817-codec";
			clocks = <&cru I2S1_MCLKOUT>;
			clock-names = "mclk";
			assigned-clocks = <&cru I2S1_MCLKOUT>, <&cru I2S1_MCLK_TX_IOE>;
			assigned-clock-rates = <12288000>;
			assigned-clock-parents = <&cru I2S1_MCLKOUT_TX>, <&cru I2S1_MCLKOUT_TX>;
			pinctrl-names = "default";
			pinctrl-0 = <&i2s1m0_mclk>;
			hp-volume = <20>;
			spk-volume = <3>;
			mic-in-differential;
			status = "okay";
		};
	};
};

&i2c1 {
	status = "okay";

	gt1x: gt1x@14 {
		compatible = "goodix,gt1x";
		reg = <0x14>;
		pinctrl-names = "default";
		pinctrl-0 = <&touch_gpio>;
		goodix,rst-gpio = <&gpio0 RK_PB6 GPIO_ACTIVE_HIGH>;
		goodix,irq-gpio = <&gpio0 RK_PB5 IRQ_TYPE_LEVEL_LOW>;
	};
};

&i2c5 {
	status = "okay";

	mxc6655xa: mxc6655xa@15 {
		status = "okay";
		compatible = "gs_mxc6655xa";
		pinctrl-names = "default";
		pinctrl-0 = <&mxc6655xa_irq_gpio>;
		reg = <0x15>;
		irq-gpio = <&gpio3 RK_PC1 IRQ_TYPE_LEVEL_LOW>;
		irq_enable = <0>;
		poll_delay_ms = <30>;
		type = <SENSOR_TYPE_ACCEL>;
		power-off-in-suspend = <1>;
		layout = <1>;
	};
};

&i2s0_8ch {
	status = "okay";
};

&i2s1_8ch {
	status = "okay";
	rockchip,clk-trcm = <1>;
	pinctrl-names = "default";
	pinctrl-0 = <&i2s1m0_sclktx
		     &i2s1m0_lrcktx
		     &i2s1m0_sdi0
		     &i2s1m0_sdo0>;
};

&i2s3_2ch {
	pinctrl-0 = <&i2s3m0_sclk &i2s3m0_lrck &i2s3m0_sdi &i2s3m0_sdo>;
	rockchip,bclk-fs = <32>;
	status = "disabled";
};

&iep {
	status = "okay";
};

&iep_mmu {
	status = "okay";
};

&jpegd {
	status = "okay";
};

&jpegd_mmu {
	status = "okay";
};

&mpp_srv {
	status = "okay";
};

&nandc0 {
	#address-cells = <1>;
	#size-cells = <0>;
	status = "okay";

	nand@0 {
		reg = <0>;
		nand-bus-width = <8>;
		nand-ecc-mode = "hw";
		nand-ecc-strength = <16>;
		nand-ecc-step-size = <1024>;
	};
};

&pinctrl {

	headphone {
		hp_det: hp-det {
			rockchip,pins = <3 RK_PA1 RK_FUNC_GPIO &pcfg_pull_down>;
		};
	};

	mxc6655xa {
		mxc6655xa_irq_gpio: mxc6655xa_irq_gpio {
			rockchip,pins = <3 RK_PC1 RK_FUNC_GPIO &pcfg_pull_none>;
		};
	};

	pmic {
		pmic_int: pmic_int {
			rockchip,pins =
				<0 RK_PA3 RK_FUNC_GPIO &pcfg_pull_up>;
		};

		soc_slppin_gpio: soc_slppin_gpio {
			rockchip,pins =
				<0 RK_PA2 RK_FUNC_GPIO &pcfg_output_low>;
		};

		soc_slppin_slp: soc_slppin_slp {
			rockchip,pins =
				<0 RK_PA2 1 &pcfg_pull_none>;
		};

		soc_slppin_rst: soc_slppin_rst {
			rockchip,pins =
				<0 RK_PA2 2 &pcfg_pull_none>;
		};
	};

	touch {
		touch_gpio: touch-gpio {
			rockchip,pins =
				<0 RK_PB5 RK_FUNC_GPIO &pcfg_pull_up>,
				<0 RK_PB6 RK_FUNC_GPIO &pcfg_pull_none>;
		};
	};

	sdio-pwrseq {
		wifi_enable_h: wifi-enable-h {
			rockchip,pins = <3 RK_PD5 RK_FUNC_GPIO &pcfg_pull_none>;
		};
	};

	usb {
		vcc5v0_host_en: vcc5v0-host-en {
			rockchip,pins = <0 RK_PA6 RK_FUNC_GPIO &pcfg_pull_none>;
		};

		vcc5v0_otg_en: vcc5v0-otg-en {
			rockchip,pins = <0 RK_PA5 RK_FUNC_GPIO &pcfg_pull_none>;
		};
	};

	wireless-bluetooth {
		uart8_gpios: uart8-gpios {
			rockchip,pins = <2 RK_PB1 RK_FUNC_GPIO &pcfg_pull_none>;
		};
	};
};

 /*
  * There are 10 independent IO domains in RK3566/RK3568, including PMUIO[0:2] and VCCIO[1:7].
  * 1/ PMUIO0 and PMUIO1 are fixed-level power domains which cannot be configured;
  * 2/ PMUIO2 and VCCIO1,VCCIO[3:7] domains require that their hardware power supply voltages
  *    must be consistent with the software configuration correspondingly
  *	a/ When the hardware IO level is connected to 1.8V, the software voltage configuration
  *	   should also be configured to 1.8V accordingly;
  *	b/ When the hardware IO level is connected to 3.3V, the software voltage configuration
  *	   should also be configured to 3.3V accordingly;
  * 3/ VCCIO2 voltage control selection (0xFDC20140)
  *	BIT[0]: 0x0: from GPIO_0A7 (default)
  *	BIT[0]: 0x1: from GRF
  *    Default is determined by Pin FLASH_VOL_SEL/GPIO0_A7:
  *	L:VCCIO2 must supply 3.3V
  *	H:VCCIO2 must supply 1.8V
  */
&pmu_io_domains {
	status = "okay";
	pmuio2-supply = <&vcc3v3_pmu>;
	vccio1-supply = <&vccio_acodec>;
	vccio3-supply = <&vccio_sd>;
	vccio4-supply = <&vcc_3v3>;
	vccio5-supply = <&vcc_3v3>;
	vccio6-supply = <&vcc_3v3>;
	vccio7-supply = <&vcc_3v3>;
};

&pwm4 {
	status = "okay";
};

&pwm5 {
	status = "okay";
};

&pwm7 {
	status = "okay";

	compatible = "rockchip,remotectl-pwm";
	remote_pwm_id = <3>;
	handle_cpu_id = <1>;
	remote_support_psci = <0>;
	pinctrl-names = "default";
	pinctrl-0 = <&pwm7_pins>;

	ir_key1 {
		rockchip,usercode = <0x4040>;
		rockchip,key_table =
			<0xf2	KEY_REPLY>,
			<0xba	KEY_BACK>,
			<0xf4	KEY_UP>,
			<0xf1	KEY_DOWN>,
			<0xef	KEY_LEFT>,
			<0xee	KEY_RIGHT>,
			<0xbd	KEY_HOME>,
			<0xea	KEY_VOLUMEUP>,
			<0xe3	KEY_VOLUMEDOWN>,
			<0xe2	KEY_SEARCH>,
			<0xb2	KEY_POWER>,
			<0xbc	KEY_MUTE>,
			<0xec	KEY_MENU>,
			<0xbf	0x190>,
			<0xe0	0x191>,
			<0xe1	0x192>,
			<0xe9	183>,
			<0xe6	248>,
			<0xe8	185>,
			<0xe7	186>,
			<0xf0	388>,
			<0xbe	0x175>;
	};

	ir_key2 {
		rockchip,usercode = <0xff00>;
		rockchip,key_table =
			<0xf9	KEY_HOME>,
			<0xbf	KEY_BACK>,
			<0xfb	KEY_MENU>,
			<0xaa	KEY_REPLY>,
			<0xb9	KEY_UP>,
			<0xe9	KEY_DOWN>,
			<0xb8	KEY_LEFT>,
			<0xea	KEY_RIGHT>,
			<0xeb	KEY_VOLUMEDOWN>,
			<0xef	KEY_VOLUMEUP>,
			<0xf7	KEY_MUTE>,
			<0xe7	KEY_POWER>,
			<0xfc	KEY_POWER>,
			<0xa9	KEY_VOLUMEDOWN>,
			<0xa8	KEY_VOLUMEDOWN>,
			<0xe0	KEY_VOLUMEDOWN>,
			<0xa5	KEY_VOLUMEDOWN>,
			<0xab	183>,
			<0xb7	388>,
			<0xe8	388>,
			<0xf8	184>,
			<0xaf	185>,
			<0xed	KEY_VOLUMEDOWN>,
			<0xee	186>,
			<0xb3	KEY_VOLUMEDOWN>,
			<0xf1	KEY_VOLUMEDOWN>,
			<0xf2	KEY_VOLUMEDOWN>,
			<0xf3	KEY_SEARCH>,
			<0xb4	KEY_VOLUMEDOWN>,
			<0xbe	KEY_SEARCH>;
	};

	ir_key3 {
		rockchip,usercode = <0x1dcc>;
		rockchip,key_table =
			<0xee	KEY_REPLY>,
			<0xf0	KEY_BACK>,
			<0xf8	KEY_UP>,
			<0xbb	KEY_DOWN>,
			<0xef	KEY_LEFT>,
			<0xed	KEY_RIGHT>,
			<0xfc	KEY_HOME>,
			<0xf1	KEY_VOLUMEUP>,
			<0xfd	KEY_VOLUMEDOWN>,
			<0xb7	KEY_SEARCH>,
			<0xff	KEY_POWER>,
			<0xf3	KEY_MUTE>,
			<0xbf	KEY_MENU>,
			<0xf9	0x191>,
			<0xf5	0x192>,
			<0xb3	388>,
			<0xbe	KEY_1>,
			<0xba	KEY_2>,
			<0xb2	KEY_3>,
			<0xbd	KEY_4>,
			<0xf9	KEY_5>,
			<0xb1	KEY_6>,
			<0xfc	KEY_7>,
			<0xf8	KEY_8>,
			<0xb0	KEY_9>,
			<0xb6	KEY_0>,
			<0xb5	KEY_BACKSPACE>;
	};
};

&rk_rga {
	status = "okay";
};

&rkvdec {
	status = "okay";
};

&rkvdec_mmu {
	status = "okay";
};

&rkvenc {
	venc-supply = <&vdd_logic>;
	status = "okay";
};

&rkvenc_mmu {
	status = "okay";
};

&rknpu {
	rknpu-supply = <&vdd_npu>;
	status = "okay";
};

&rknpu_mmu {
	status = "okay";
};

&route_hdmi {
	status = "okay";
	connect = <&vp0_out_hdmi>;
};

&saradc {
	status = "okay";
	vref-supply = <&vcca_1v8>;
};

&sdhci {
	bus-width = <8>;
	no-sdio;
	no-sd;
	non-removable;
	max-frequency = <200000000>;
	full-pwr-cycle-in-suspend;
	status = "okay";
};

&sdmmc0 {
	max-frequency = <150000000>;
	no-sdio;
	no-mmc;
	bus-width = <4>;
	cap-mmc-highspeed;
	cap-sd-highspeed;
	disable-wp;
	sd-uhs-sdr104;
	vmmc-supply = <&vcc3v3_sd>;
	vqmmc-supply = <&vccio_sd>;
	pinctrl-names = "default";
	pinctrl-0 = <&sdmmc0_bus4 &sdmmc0_clk &sdmmc0_cmd &sdmmc0_det>;
	status = "okay";
};

&sfc {
	status = "okay";

	flash@0 {
		compatible = "spi-nand";
		reg = <0>;
		spi-max-frequency = <75000000>;
		spi-rx-bus-width = <4>;
		spi-tx-bus-width = <1>;
	};
};

&spdif_8ch {
	status = "okay";
};

&tsadc {
	status = "okay";
};

&u2phy0_host {
	phy-supply = <&vcc5v0_host>;
	status = "okay";
};

&u2phy0_otg {
	vbus-supply = <&vcc5v0_otg>;
	status = "okay";
};

&u2phy1_host {
	phy-supply = <&vcc5v0_host>;
	status = "okay";
};

&u2phy1_otg {
	phy-supply = <&vcc5v0_host>;
	status = "okay";
};

&usb2phy0 {
	status = "okay";
};

&usb2phy1 {
	status = "okay";
};

&usb_host0_ehci {
	status = "okay";
};

&usb_host0_ohci {
	status = "okay";
};

&usb_host1_ehci {
	status = "okay";
};

&usb_host1_ohci {
	status = "okay";
};

&usbdrd_dwc3 {
	dr_mode = "otg";
	extcon = <&usb2phy0>;
	status = "okay";
};

&usbdrd30 {
	status = "okay";
};

&usbhost_dwc3 {
	status = "okay";
};

&usbhost30 {
	status = "okay";
};

&vad {
	rockchip,audio-src = <&i2s1_8ch>;
	rockchip,buffer-time-ms = <128>;
	rockchip,det-channel = <0>;
	rockchip,mode = <0>;
};

&vdpu {
	status = "okay";
};

&vdpu_mmu {
	status = "okay";
};

&vepu {
	status = "okay";
};

&vepu_mmu {
	status = "okay";
};

&vop {
	status = "okay";
	assigned-clocks = <&cru DCLK_VOP0>, <&cru DCLK_VOP1>, <&cru DCLK_VOP2>;
	assigned-clock-parents = <&pmucru PLL_HPLL>, <&cru PLL_VPLL>, <&cru PLL_GPLL>;
};

&vop_mmu {
	status = "okay";
};
